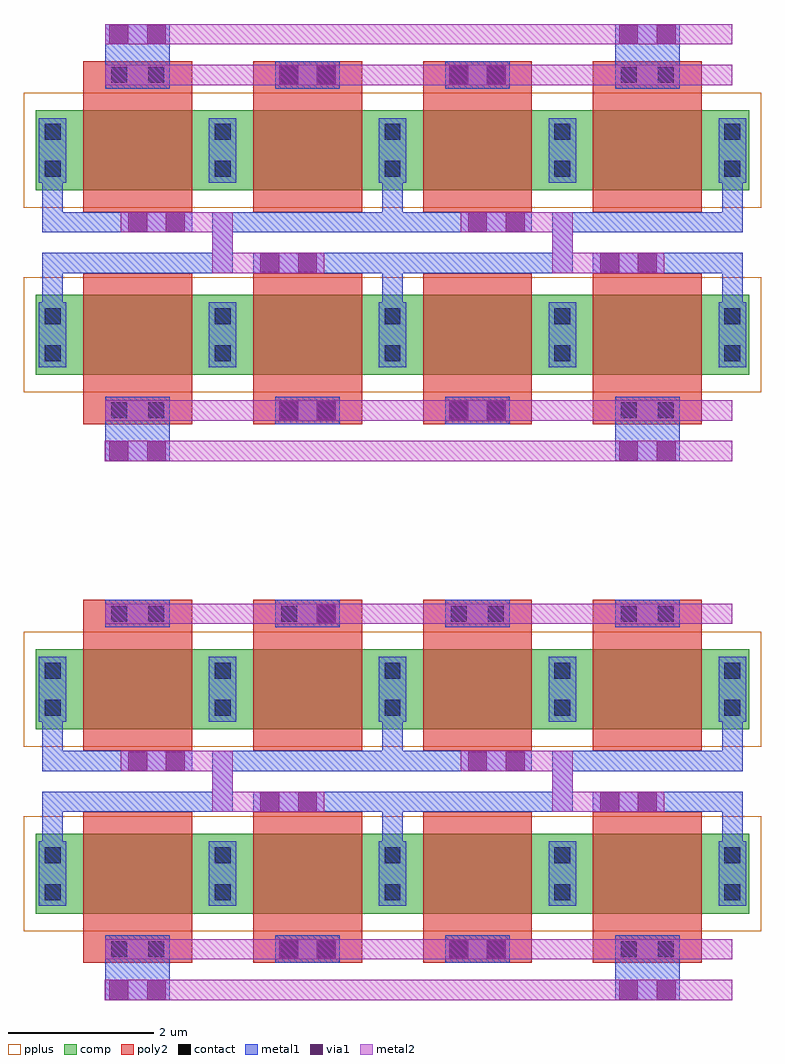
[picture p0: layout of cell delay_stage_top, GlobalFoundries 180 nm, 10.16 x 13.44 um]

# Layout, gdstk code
import gdstk
lib = gdstk.Library(unit=1e-6, precision=5e-09)
def R(c, l, rs):  # rectangles x0, y0, x1, y1
    for r in rs: c.add(gdstk.rectangle(r[:2], r[2:], *l))
def A(c, l, x, y, w, h, nx, ny, dx, dy):  # array of equal rectangles
    R(c, l, [(x+i*dx, y+j*dy, x+i*dx+w, y+j*dy+h) for i in range(nx) for j in range(ny)])
comp = (22, 0)
poly2 = (30, 0)
pplus = (31, 0)
contact = (33, 0)
metal1 = (34, 0)
via1 = (35, 0)
metal2 = (36, 0)

delay_stage_pcell_1_1 = lib.new_cell('delay_stage_pcell_1$1')
R(delay_stage_pcell_1_1, comp, [(0.17,0.3,0.63,1.4), (0.63,0.3,2.51,1.4), (2.51,0.3,2.97,1.4)])
R(delay_stage_pcell_1_1, poly2, [(0.82,0,2.32,1.7)])
R(delay_stage_pcell_1_1, pplus, [(0,0.06,3.14,1.64)])
R(delay_stage_pcell_1_1, contact, [(0.29,0.485,0.51,0.705), (2.63,0.485,2.85,0.705), (0.29,0.995,0.51,1.215), (2.63,0.995,2.85,1.215)])
R(delay_stage_pcell_1_1, metal1, [(0.21,0.405,0.59,1.295), (2.55,0.405,2.93,1.295)])

delay_stage_pcell_4 = lib.new_cell('delay_stage_pcell_4')
delay_stage_pcell_4.add(gdstk.Reference(delay_stage_pcell_1_1, (0,0)))
delay_stage_pcell_4.add(gdstk.Reference(delay_stage_pcell_1_1, (2.34,0)))
delay_stage_pcell_4.add(gdstk.Reference(delay_stage_pcell_1_1, (4.68,0)))
delay_stage_pcell_4.add(gdstk.Reference(delay_stage_pcell_1_1, (7.02,0)))

delay_stage_top = lib.new_cell('delay_stage_top')
A(delay_stage_top, poly2, 0.82, -6.91, 1.5, 0.38, 4, 2, 2.34, 4.62)
A(delay_stage_top, poly2, 0.82, 0.51, 1.5, 0.38, 4, 2, 2.34, 4.62)
R(delay_stage_top, contact, [(1.205,-6.83,1.425,-6.61), (1.715,-6.83,1.935,-6.61), (3.545,-6.83,3.765,-6.61), (4.055,-6.83,4.275,-6.61), (5.885,-6.83,6.105,-6.61), (6.395,-6.83,6.615,-6.61), (8.225,-6.83,8.445,-6.61), (8.735,-6.83,8.955,-6.61), (1.205,-2.21,1.425,-1.99), (1.715,-2.21,1.935,-1.99), (3.545,-2.21,3.765,-1.99), (4.055,-2.21,4.275,-1.99), (5.885,-2.21,6.105,-1.99), (6.395,-2.21,6.615,-1.99), (8.225,-2.21,8.445,-1.99), (8.735,-2.21,8.955,-1.99), (1.205,0.59,1.425,0.81), (1.715,0.59,1.935,0.81), (3.545,0.59,3.765,0.81), (4.055,0.59,4.275,0.81), (5.885,0.59,6.105,0.81), (6.395,0.59,6.615,0.81), (8.225,0.59,8.445,0.81), (8.735,0.59,8.955,0.81), (1.205,5.21,1.425,5.43), (1.715,5.21,1.935,5.43), (3.545,5.21,3.765,5.43), (4.055,5.21,4.275,5.43), (5.885,5.21,6.105,5.43), (6.395,5.21,6.615,5.43), (8.225,5.21,8.445,5.43), (8.735,5.21,8.955,5.43)])
A(delay_stage_top, metal1, 1.125, -2.29, 0.89, 0.38, 4, 1, 2.34, 0)
R(delay_stage_top, metal1, [(1.125,-7.42,2.015,-6.53), (8.145,-7.42,9.035,-6.53), (3.465,-6.91,4.355,-6.53), (5.805,-6.91,6.695,-6.53), (1.125,0,2.015,0.89), (8.145,0,9.035,0.89), (3.465,0.51,4.355,0.89), (5.805,0.51,6.695,0.89), (1.125,5.13,2.015,6.02), (3.465,5.13,4.355,5.51), (5.805,5.13,6.695,5.51), (8.145,5.13,9.035,6.02)])
R(delay_stage_top, via1, [(1.18,-7.41,1.44,-7.15), (1.7,-7.41,1.96,-7.15), (8.2,-7.41,8.46,-7.15), (8.72,-7.41,8.98,-7.15), (3.52,-6.85,3.78,-6.59), (4.04,-6.85,4.3,-6.59), (5.86,-6.85,6.12,-6.59), (6.38,-6.85,6.64,-6.59), (3.26,-4.82,3.52,-4.56), (3.78,-4.82,4.04,-4.56), (7.94,-4.82,8.2,-4.56), (8.46,-4.82,8.72,-4.56), (1.44,-4.26,1.7,-4), (1.96,-4.26,2.22,-4), (6.12,-4.26,6.38,-4), (6.64,-4.26,6.9,-4), (4.04,-2.23,4.3,-1.97), (1.18,0.01,1.44,0.27), (1.7,0.01,1.96,0.27), (8.2,0.01,8.46,0.27), (8.72,0.01,8.98,0.27), (3.52,0.57,3.78,0.83), (4.04,0.57,4.3,0.83), (5.86,0.57,6.12,0.83), (6.38,0.57,6.64,0.83), (3.26,2.6,3.52,2.86), (3.78,2.6,4.04,2.86), (7.94,2.6,8.2,2.86), (8.46,2.6,8.72,2.86), (1.44,3.16,1.7,3.42), (1.96,3.16,2.22,3.42), (6.12,3.16,6.38,3.42), (6.64,3.16,6.9,3.42), (3.52,5.19,3.78,5.45), (4.04,5.19,4.3,5.45), (5.86,5.19,6.12,5.45), (6.38,5.19,6.64,5.45), (1.18,5.75,1.44,6.01), (1.7,5.75,1.96,6.01), (8.2,5.75,8.46,6.01), (8.72,5.75,8.98,6.01)])
delay_stage_top.add(gdstk.FlexPath([(0.4,3.835),(0.4,3.29),(1.34,3.29)], 0.28, ends="flush", simple_path=True, layer=34, datatype=0))  # metal1
delay_stage_top.add(gdstk.FlexPath([(0.4,2.185),(0.4,2.73),(1.34,2.73)], 0.28, ends="flush", simple_path=True, layer=34, datatype=0))  # metal1
delay_stage_top.add(gdstk.FlexPath([(5.08,2.185),(5.08,2.59)], 0.28, ends="flush", simple_path=True, layer=34, datatype=0))  # metal1
delay_stage_top.add(gdstk.FlexPath([(5.08,3.835),(5.08,3.43)], 0.28, ends="flush", simple_path=True, layer=34, datatype=0))  # metal1
delay_stage_top.add(gdstk.FlexPath([(8.82,3.29),(9.76,3.29),(9.76,3.835)], 0.28, ends="flush", simple_path=True, layer=34, datatype=0))  # metal1
delay_stage_top.add(gdstk.FlexPath([(9.76,2.185),(9.76,2.73),(8.82,2.73)], 0.28, ends="flush", simple_path=True, layer=34, datatype=0))  # metal1
delay_stage_top.add(gdstk.FlexPath([(1.34,2.73),(2.74,2.73),(2.74,3.29),(4.14,3.29)], 0.28, ends="flush", simple_path=True, layer=34, datatype=0))  # metal1
delay_stage_top.add(gdstk.FlexPath([(6.02,2.73),(7.42,2.73),(7.42,3.29),(8.82,3.29)], 0.28, ends="flush", simple_path=True, layer=34, datatype=0))  # metal1
delay_stage_top.add(gdstk.FlexPath([(7.84,2.73),(8.82,2.73)], 0.28, ends="flush", simple_path=True, layer=34, datatype=0))  # metal1
delay_stage_top.add(gdstk.FlexPath([(6.02,3.29),(7,3.29)], 0.28, ends="flush", simple_path=True, layer=34, datatype=0))  # metal1
delay_stage_top.add(gdstk.FlexPath([(1.34,3.29),(2.32,3.29)], 0.28, ends="flush", simple_path=True, layer=34, datatype=0))  # metal1
delay_stage_top.add(gdstk.FlexPath([(3.16,2.73),(4.14,2.73)], 0.28, ends="flush", simple_path=True, layer=34, datatype=0))  # metal1
delay_stage_top.add(gdstk.FlexPath([(6.02,2.73),(4.14,2.73)], 0.28, ends="flush", simple_path=True, layer=34, datatype=0))  # metal1
delay_stage_top.add(gdstk.FlexPath([(6.02,3.29),(4.14,3.29)], 0.28, ends="flush", simple_path=True, layer=34, datatype=0))  # metal1
delay_stage_top.add(gdstk.FlexPath([(0.4,-3.585),(0.4,-4.13),(1.34,-4.13)], 0.28, ends="flush", simple_path=True, layer=34, datatype=0))  # metal1
delay_stage_top.add(gdstk.FlexPath([(0.4,-5.235),(0.4,-4.69),(1.34,-4.69)], 0.28, ends="flush", simple_path=True, layer=34, datatype=0))  # metal1
delay_stage_top.add(gdstk.FlexPath([(5.08,-5.235),(5.08,-4.83)], 0.28, ends="flush", simple_path=True, layer=34, datatype=0))  # metal1
delay_stage_top.add(gdstk.FlexPath([(5.08,-3.585),(5.08,-3.99)], 0.28, ends="flush", simple_path=True, layer=34, datatype=0))  # metal1
delay_stage_top.add(gdstk.FlexPath([(8.82,-4.13),(9.76,-4.13),(9.76,-3.585)], 0.28, ends="flush", simple_path=True, layer=34, datatype=0))  # metal1
delay_stage_top.add(gdstk.FlexPath([(9.76,-5.235),(9.76,-4.69),(8.82,-4.69)], 0.28, ends="flush", simple_path=True, layer=34, datatype=0))  # metal1
delay_stage_top.add(gdstk.FlexPath([(1.34,-4.69),(2.74,-4.69),(2.74,-4.13),(4.14,-4.13)], 0.28, ends="flush", simple_path=True, layer=34, datatype=0))  # metal1
delay_stage_top.add(gdstk.FlexPath([(6.02,-4.69),(7.42,-4.69),(7.42,-4.13),(8.82,-4.13)], 0.28, ends="flush", simple_path=True, layer=34, datatype=0))  # metal1
delay_stage_top.add(gdstk.FlexPath([(7.84,-4.69),(8.82,-4.69)], 0.28, ends="flush", simple_path=True, layer=34, datatype=0))  # metal1
delay_stage_top.add(gdstk.FlexPath([(6.02,-4.13),(7,-4.13)], 0.28, ends="flush", simple_path=True, layer=34, datatype=0))  # metal1
delay_stage_top.add(gdstk.FlexPath([(1.34,-4.13),(2.32,-4.13)], 0.28, ends="flush", simple_path=True, layer=34, datatype=0))  # metal1
delay_stage_top.add(gdstk.FlexPath([(3.16,-4.69),(4.14,-4.69)], 0.28, ends="flush", simple_path=True, layer=34, datatype=0))  # metal1
delay_stage_top.add(gdstk.FlexPath([(6.02,-4.69),(4.14,-4.69)], 0.28, ends="flush", simple_path=True, layer=34, datatype=0))  # metal1
delay_stage_top.add(gdstk.FlexPath([(6.02,-4.13),(4.14,-4.13)], 0.28, ends="flush", simple_path=True, layer=34, datatype=0))  # metal1
delay_stage_top.add(gdstk.FlexPath([(1.125,0.7),(9.76,0.7)], 0.28, ends="flush", simple_path=True, layer=36, datatype=0))  # metal2
delay_stage_top.add(gdstk.FlexPath([(1.12,0.14),(9.76,0.14)], 0.28, ends="flush", simple_path=True, layer=36, datatype=0))  # metal2
delay_stage_top.add(gdstk.FlexPath([(1.125,5.32),(9.76,5.32)], 0.28, ends="flush", simple_path=True, layer=36, datatype=0))  # metal2
delay_stage_top.add(gdstk.FlexPath([(1.34,3.29),(2.74,3.29),(2.74,2.73),(4.14,2.73)], 0.28, ends="flush", simple_path=True, layer=36, datatype=0))  # metal2
delay_stage_top.add(gdstk.FlexPath([(6.02,3.29),(7.42,3.29),(7.42,2.73),(8.82,2.73)], 0.28, ends="flush", simple_path=True, layer=36, datatype=0))  # metal2
delay_stage_top.add(gdstk.FlexPath([(1.125,5.88),(9.76,5.88)], 0.28, ends="flush", simple_path=True, layer=36, datatype=0))  # metal2
delay_stage_top.add(gdstk.FlexPath([(1.125,-6.72),(9.76,-6.72)], 0.28, ends="flush", simple_path=True, layer=36, datatype=0))  # metal2
delay_stage_top.add(gdstk.FlexPath([(1.12,-7.28),(9.76,-7.28)], 0.28, ends="flush", simple_path=True, layer=36, datatype=0))  # metal2
delay_stage_top.add(gdstk.FlexPath([(1.125,-2.1),(9.76,-2.1)], 0.28, ends="flush", simple_path=True, layer=36, datatype=0))  # metal2
delay_stage_top.add(gdstk.FlexPath([(1.34,-4.13),(2.74,-4.13),(2.74,-4.69),(4.14,-4.69)], 0.28, ends="flush", simple_path=True, layer=36, datatype=0))  # metal2
delay_stage_top.add(gdstk.FlexPath([(6.02,-4.13),(7.42,-4.13),(7.42,-4.69),(8.82,-4.69)], 0.28, ends="flush", simple_path=True, layer=36, datatype=0))  # metal2
delay_stage_top.add(gdstk.Reference(delay_stage_pcell_4, (0,2.59), x_reflection=True))
delay_stage_top.add(gdstk.Reference(delay_stage_pcell_4, (0,3.43)))
delay_stage_top.add(gdstk.Reference(delay_stage_pcell_4, (0,-4.83), x_reflection=True))
delay_stage_top.add(gdstk.Reference(delay_stage_pcell_4, (0,-3.99)))

lib.write_gds('delay_stage_top.gds')
